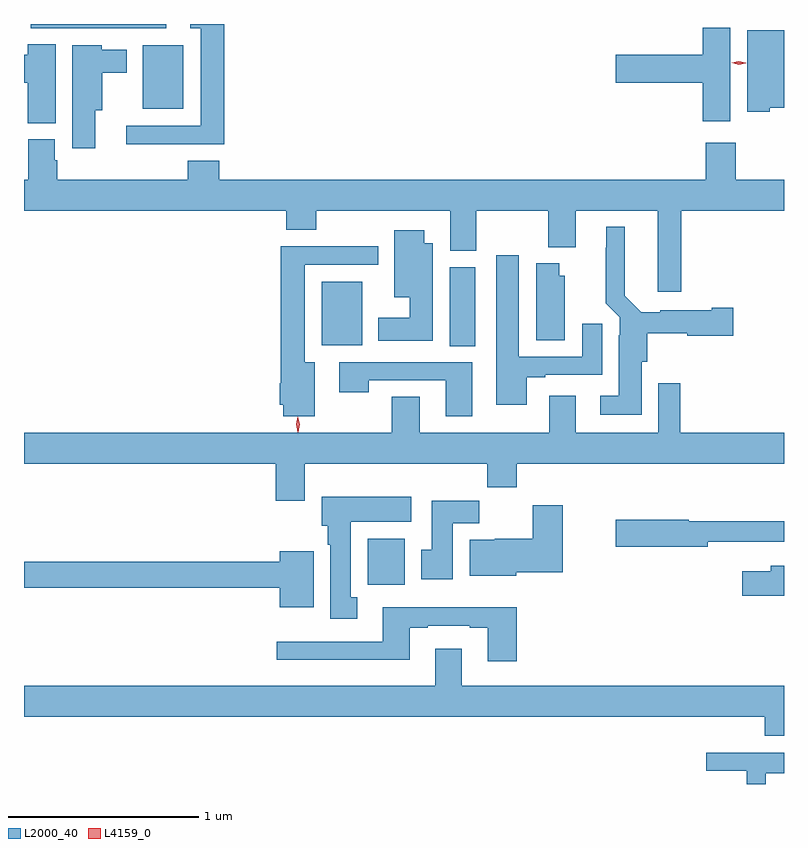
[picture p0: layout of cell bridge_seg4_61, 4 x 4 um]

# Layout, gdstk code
import gdstk
lib = gdstk.Library(unit=1e-6, precision=1e-09)
def R(c, l, rs):  # rectangles x0, y0, x1, y1
    for r in rs: c.add(gdstk.rectangle(r[:2], r[2:], *l))
def P(c, l, *ps):  # polygons
    for p in ps: c.add(gdstk.Polygon(p, *l))
L2000_40 = (2000, 40)
L4159_0 = (4159, 0)

bridge_seg4_61 = lib.new_cell('bridge_seg4_61')
R(bridge_seg4_61, L2000_40, [(734.126,786.86,734.323,787.102), (734.558,788.116,734.692,788.532), (733.886,788.12,734.098,788.455), (732.944,789.365,733.156,789.7), (732.353,789.789,733.066,789.811)])
P(bridge_seg4_61, L2000_40, [(733.373,789.811),(733.193,789.811),(733.193,789.788),(733.247,789.788),(733.247,789.276),(732.855,789.276),(732.855,789.179),(733.373,789.179)],
  [(736.036,789.791),(735.89,789.791),(735.89,789.65),(735.432,789.65),(735.432,789.503),(735.89,789.503),(735.89,789.3),(736.036,789.3)],
  [(736.242,789.371),(736.318,789.371),(736.318,789.778),(736.124,789.778),(736.124,789.35),(736.242,789.35)],
  [(732.484,789.704),(732.338,789.704),(732.338,789.65),(732.318,789.65),(732.318,789.503),(732.338,789.503),(732.338,789.289),(732.484,789.289)],
  [(732.694,789.356),(732.73,789.356),(732.73,789.554),(732.859,789.554),(732.859,789.676),(732.726,789.676),(732.726,789.7),(732.572,789.7),(732.572,789.156),(732.694,789.156)],
  [(735.776,788.828),(736.318,788.828),(736.318,788.992),(736.065,788.992),(736.065,789.187),(735.905,789.187),(735.905,788.992),(733.346,788.992),(733.346,789.091),(733.181,789.091),(733.181,788.992),(732.494,788.992),(732.494,789.093),(732.481,789.093),(732.481,789.204),(732.341,789.204),(732.341,788.992),(732.318,788.992),(732.318,788.828),(733.697,788.828),(733.697,788.729),(733.857,788.729),(733.857,788.828),(734.561,788.828),(734.561,788.617),(734.697,788.617),(734.697,788.828),(735.076,788.828),(735.076,788.636),(735.223,788.636),(735.223,788.828),(735.653,788.828),(735.653,788.403),(735.776,788.403)],
  [(735.568,788.034),(735.599,788.034),(735.599,788.183),(735.81,788.183),(735.81,788.171),(736.051,788.171),(736.051,788.318),(735.938,788.318),(735.938,788.305),(735.666,788.305),(735.666,788.293),(735.567,788.293),(735.481,788.38),(735.481,788.743),(735.383,788.743),(735.383,788.633),(735.379,788.633),(735.379,788.342),(735.453,788.268),(735.453,788.174),(735.449,788.174),(735.449,787.855),(735.351,787.855),(735.351,787.754),(735.568,787.754)],
  [(734.47,788.656),(734.425,788.656),(734.425,788.725),(734.267,788.725),(734.267,788.372),(734.348,788.372),(734.348,788.266),(734.183,788.266),(734.183,788.144),(734.47,788.144)],
  [(733.849,788.032),(733.795,788.032),(733.795,788.544),(734.182,788.544),(734.182,788.642),(733.67,788.642),(733.67,787.92),(733.664,787.92),(733.664,787.806),(733.682,787.806),(733.682,787.746),(733.849,787.746)],
  [(734.965,787.953),(735.061,787.953),(735.061,787.965),(735.361,787.965),(735.361,788.233),(735.257,788.233),(735.257,788.061),(734.923,788.061),(734.923,788.593),(734.804,788.593),(734.804,787.806),(734.965,787.806)],
  [(735.163,788.487),(735.136,788.487),(735.136,788.551),(735.014,788.551),(735.014,788.146),(735.163,788.146)],
  [(734.677,788.031),(733.977,788.031),(733.977,787.872),(734.133,787.872),(734.133,787.935),(734.537,787.935),(734.537,787.746),(734.677,787.746)],
  [(733.795,787.496),(734.755,787.496),(734.755,787.372),(734.912,787.372),(734.912,787.496),(736.318,787.496),(736.318,787.66),(735.773,787.66),(735.773,787.921),(735.657,787.921),(735.657,787.66),(735.223,787.66),(735.223,787.855),(735.083,787.855),(735.083,787.66),(734.401,787.66),(734.401,787.85),(734.254,787.85),(734.254,787.66),(732.318,787.66),(732.318,787.496),(733.643,787.496),(733.643,787.302),(733.795,787.302)],
  [(734.071,786.794),(734.038,786.794),(734.038,787.19),(734.356,787.19),(734.356,787.324),(733.886,787.324),(733.886,787.17),(733.916,787.17),(733.916,787.07),(733.931,787.07),(733.931,786.681),(734.071,786.681)],
  [(734.575,787.184),(734.714,787.184),(734.714,787.303),(734.465,787.303),(734.465,787.044),(734.408,787.044),(734.408,786.888),(734.575,786.888)],
  [(734.91,786.926),(735.154,786.926),(735.154,787.279),(734.996,787.279),(734.996,787.102),(734.796,787.102),(734.796,787.096),(734.663,787.096),(734.663,786.908),(734.91,786.908)],
  [(735.916,787.085),(736.11,787.085),(736.11,787.086),(736.318,787.086),(736.318,787.195),(735.816,787.195),(735.816,787.203),(735.432,787.203),(735.432,787.061),(735.916,787.061)],
  [(733.843,787.036),(733.664,787.036),(733.664,786.98),(732.318,786.98),(732.318,786.844),(733.664,786.844),(733.664,786.74),(733.843,786.74)],
  [(736.318,786.96),(736.247,786.96),(736.247,786.931),(736.098,786.931),(736.098,786.802),(736.318,786.802)],
  [(734.912,786.742),(734.207,786.742),(734.207,786.561),(733.647,786.561),(733.647,786.464),(734.347,786.464),(734.347,786.633),(734.443,786.633),(734.443,786.645),(734.663,786.645),(734.663,786.633),(734.759,786.633),(734.759,786.456),(734.912,786.456)],
  [(736.318,786.328),(734.623,786.328),(734.623,786.523),(734.483,786.523),(734.483,786.328),(732.318,786.328),(732.318,786.164),(736.217,786.164),(736.217,786.065),(736.318,786.065)],
  [(736.221,785.868),(736.318,785.868),(736.318,785.976),(735.909,785.976),(735.909,785.88),(736.122,785.88),(736.122,785.811),(736.221,785.811)])
P(bridge_seg4_61, L4159_0, [(736.079,789.596),(736.042,789.606),(736.042,789.606),(736.042,789.607),(736.079,789.616),(736.117,789.606),(736.117,789.605),(736.117,789.605)],
  [(733.76,787.663),(733.76,787.663),(733.75,787.704),(733.76,787.745),(733.76,787.745),(733.76,787.745),(733.77,787.704),(733.761,787.663)])

lib.write_gds('bridge_seg4_61.gds')
